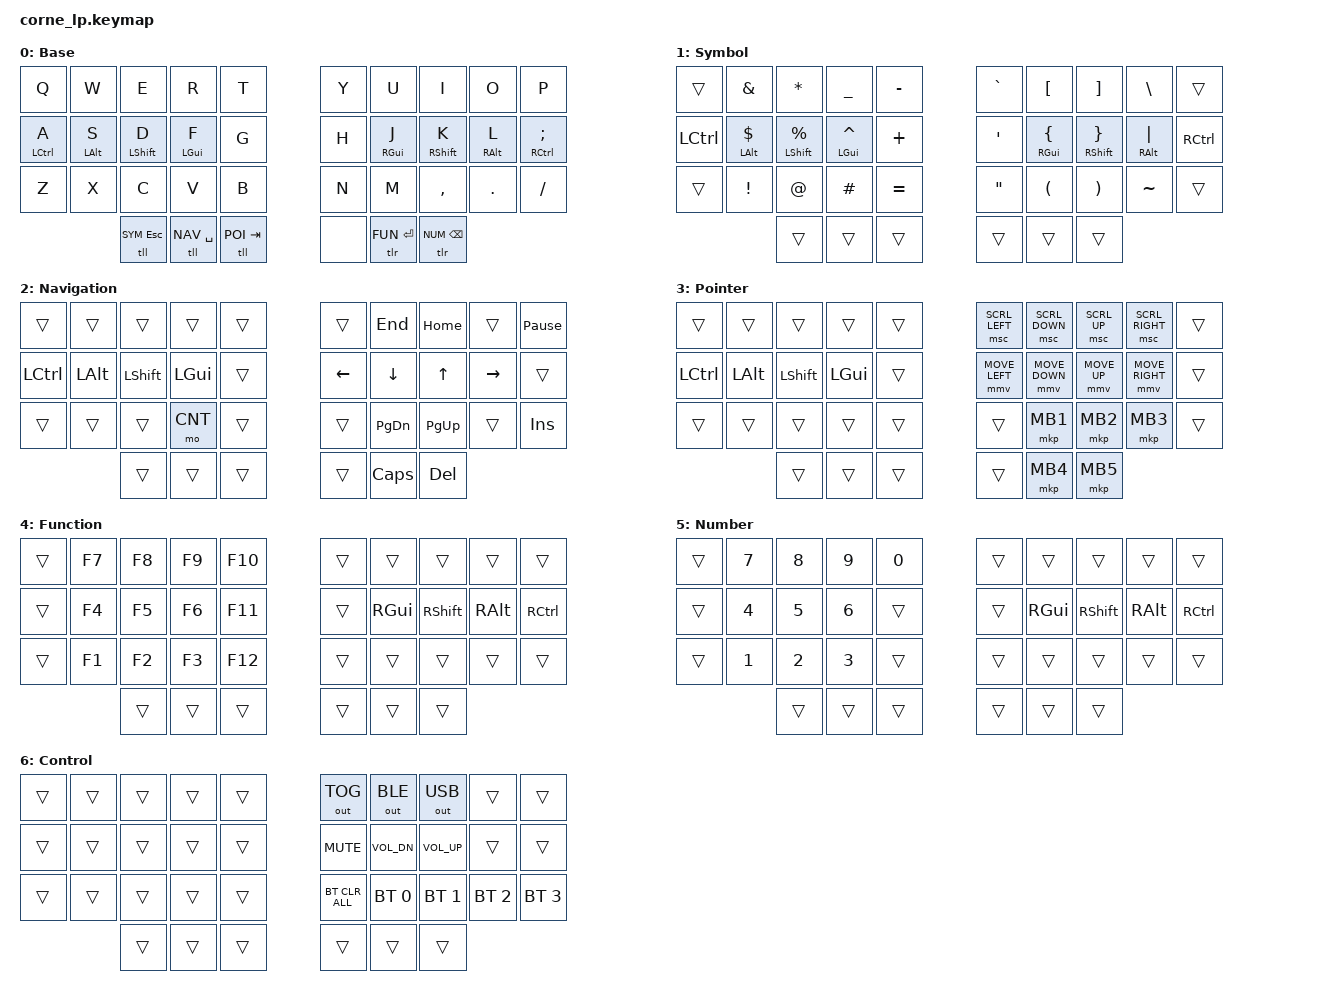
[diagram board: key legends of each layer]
/*
 * Copyright (c) 2020 The ZMK Contributors
 *
 * SPDX-License-Identifier: MIT
 */

#include <behaviors.dtsi>
#include <behaviors/mouse_keys.dtsi>
#include <behaviors/bat_print.dtsi>
#include <dt-bindings/zmk/pointing.h>
#include <dt-bindings/zmk/bt.h>
#include <dt-bindings/zmk/keys.h>
#include <dt-bindings/zmk/outputs.h>

// charybdis.keymap 과 동일한 구조(zmk-helpers 매크로 + 키 위치 라벨).
// COMBO_TERM 은 helper.h include "이전"에 정의해야 기본값(30) 대신 60 이 적용됨.
#define COMBO_TERM 60
#include <zmk-helpers/helper.h>
#include "corne_lp_keypos.h"   // KEYS_L / KEYS_R / THUMBS 등

// charybdis 와 같은 레이어 번호. 트랙볼 전용 레이어(SCR/SNI/TBALL/TUR)는 corne 에 없으므로 제외.
#define BASE 0
#define SYM  1
#define NAV  2
#define POI  3
#define FUN  4
#define NUM  5
#define CNT  6

&sl {
    release-after-ms = <250>;
};

&mt {
    tapping-term-ms = <200>;
    require-prior-idle-ms = <150>;
};

// 콤보 — ZMK_COMBO_3(name, bindings, keypos): 전 레이어 동작, timeout = COMBO_TERM(60).
ZMK_COMBO(copy,       &kp LG(C), LB3 LB2)
ZMK_COMBO(paste,      &kp LG(V), LB2 LB1)
ZMK_COMBO(undo,       &kp LG(Z), LB4 LB3)
ZMK_COMBO(f18,        &kp F18,   RB2 RB3)
ZMK_COMBO(poi_toggle, &tog POI,  RB1 RB2)
// 배터리: T+Y(LT0 RT0) 동시 → "L<좌> R<우>" 타이핑. base 레이어 + 150ms idle(타이핑 중 오발 방지).
ZMK_COMBO(battery,    &bat_print, LT0 RT0, BASE, 50, 150)

// 엄지 레이어탭 (hold=레이어, tap=키).
ZMK_HOLD_TAP(tll,
    flavor = "balanced";
    tapping-term-ms = <160>;
    quick-tap-ms = <160>;
    require-prior-idle-ms = <100>;
    bindings = <&mo>, <&kp>;
    hold-trigger-key-positions = <KEYS_L KEYS_R THUMBS_R>;
    hold-trigger-on-release;
)
ZMK_HOLD_TAP(tlr,
    flavor = "balanced";
    tapping-term-ms = <160>;
    quick-tap-ms = <160>;
    require-prior-idle-ms = <100>;
    bindings = <&mo>, <&kp>;
    hold-trigger-key-positions = <KEYS_L KEYS_R THUMBS_L>;
    hold-trigger-on-release;
)

// 홈로우 모드 (timeless 값). positional + hold-trigger-on-release.
ZMK_HOLD_TAP(hml,
    flavor = "balanced";
    tapping-term-ms = <120>;
    quick-tap-ms = <160>;
    require-prior-idle-ms = <100>;
    bindings = <&kp>, <&kp>;
    hold-trigger-key-positions = <KEYS_R THUMBS>;
    hold-trigger-on-release;
)
ZMK_HOLD_TAP(hmr,
    flavor = "balanced";
    tapping-term-ms = <120>;
    quick-tap-ms = <160>;
    require-prior-idle-ms = <100>;
    bindings = <&kp>, <&kp>;
    hold-trigger-key-positions = <KEYS_L THUMBS>;
    hold-trigger-on-release;
)

/ {
    keymap {
        compatible = "zmk,keymap";

        // 우엄지 첫번째 키(RH0=33)는 비움 → charybdis 우엄지 2키와 같은 배치.

        Base {
            label = "Base";
            bindings = <
              &kp Q         &kp W         &kp E          &kp R           &kp T            &kp Y         &kp U         &kp I         &kp O         &kp P
              &hml LCTRL A  &hml LALT S   &hml LSHFT D   &hml LGUI F     &kp G            &kp H         &hmr RGUI J   &hmr RSHFT K  &hmr RALT L   &hmr RCTRL SEMI
              &kp Z         &kp X         &kp C          &kp V           &kp B            &kp N         &kp M         &kp COMMA     &kp DOT       &kp FSLH
                                          &tll SYM ESC   &tll NAV SPACE  &tll POI TAB     &none         &tlr FUN RET  &tlr NUM BSPC
            >;
        };

        Symbol {
            label = "Symbol";
            bindings = <
              &trans        &kp AMPS         &kp ASTRK         &kp UNDER        &kp MINUS        &kp GRAVE     &kp LBKT        &kp RBKT         &kp BSLH        &trans
              &kp LCTRL     &hml LALT DLLR   &hml LSHFT PRCNT  &hml LGUI CARET  &kp PLUS         &kp SQT       &hmr RGUI LBRC  &hmr RSHFT RBRC  &hmr RALT PIPE  &kp RCTRL
              &trans        &kp EXCL         &kp AT            &kp HASH         &kp EQUAL        &kp DQT       &kp LPAR        &kp RPAR         &kp TILDE       &trans
                                             &trans            &trans           &trans           &trans        &trans          &trans
            >;
        };

        Navigation {
            label = "Navigation";
            bindings = <
              &trans        &trans        &trans         &trans          &trans           &trans        &kp END        &kp HOME      &trans        &kp PAUSE_BREAK
              &kp LCTRL     &kp LALT      &kp LSHFT      &kp LGUI        &trans           &kp LEFT      &kp DOWN       &kp UP        &kp RIGHT     &trans
              &trans        &trans        &trans         &mo CNT         &trans           &trans        &kp PAGE_DOWN  &kp PAGE_UP   &trans        &kp INS
                                          &trans         &trans          &trans           &trans        &kp CAPS       &kp DEL
            >;
        };

        // charybdis 의 트랙볼 자리는 마우스키(mmv/msc)로 대체. 버튼 배치는 charybdis 와 동일.
        Pointer {
            label = "Pointer";
            bindings = <
              &trans        &trans        &trans         &trans          &trans           &msc SCRL_LEFT  &msc SCRL_DOWN  &msc SCRL_UP  &msc SCRL_RIGHT  &trans
              &kp LCTRL     &kp LALT      &kp LSHFT      &kp LGUI        &trans           &mmv MOVE_LEFT  &mmv MOVE_DOWN  &mmv MOVE_UP  &mmv MOVE_RIGHT  &trans
              &trans        &trans        &trans         &trans          &trans           &trans          &mkp MB1        &mkp MB2      &mkp MB3         &trans
                                          &trans         &trans          &trans           &trans          &mkp MB4        &mkp MB5
            >;
        };

        Function {
            label = "Function";
            bindings = <
              &trans        &kp F7        &kp F8         &kp F9          &kp F10          &trans        &trans         &trans        &trans        &trans
              &trans        &kp F4        &kp F5         &kp F6          &kp F11          &trans        &kp RGUI       &kp RSHFT     &kp RALT      &kp RCTRL
              &trans        &kp F1        &kp F2         &kp F3          &kp F12          &trans        &trans         &trans        &trans        &trans
                                          &trans         &trans          &trans           &trans        &trans         &trans
            >;
        };

        Number {
            label = "Number";
            bindings = <
              &trans        &kp N7        &kp N8         &kp N9          &kp N0           &trans        &trans         &trans        &trans        &trans
              &trans        &kp N4        &kp N5         &kp N6          &trans           &trans        &kp RGUI       &kp RSHFT     &kp RALT      &kp RCTRL
              &trans        &kp N1        &kp N2         &kp N3          &trans           &trans        &trans         &trans        &trans        &trans
                                          &trans         &trans          &trans           &trans        &trans         &trans
            >;
        };

        Control {
            label = "Control";
            bindings = <
              &trans        &trans        &trans         &trans          &trans           &out OUT_TOG    &out OUT_BLE   &out OUT_USB   &trans        &trans
              &trans        &trans        &trans         &trans          &trans           &kp C_MUTE      &kp C_VOL_DN   &kp C_VOL_UP   &trans        &trans
              &trans        &trans        &trans         &trans          &trans           &bt BT_CLR_ALL  &bt BT_SEL 0   &bt BT_SEL 1   &bt BT_SEL 2  &bt BT_SEL 3
                                          &trans         &trans          &trans           &trans          &trans         &trans
            >;
        };
    };
};
